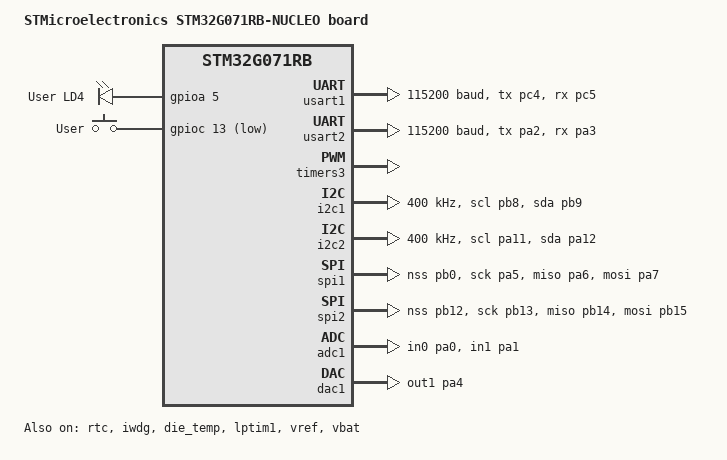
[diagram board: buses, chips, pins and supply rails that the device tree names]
/*
 * Copyright (c) 2019 Philippe Retornaz <philippe@shapescale.com>
 * Copyright (c) 2019 STMicroelectronics
 *
 * SPDX-License-Identifier: Apache-2.0
 */

/dts-v1/;
#include <st/g0/stm32g071Xb.dtsi>
#include <st/g0/stm32g071r(6-8-b)tx-pinctrl.dtsi>
#include "arduino_r3_connector.dtsi"
#include "st_morpho_connector.dtsi"
#include <zephyr/dt-bindings/input/input-event-codes.h>

/ {
	model = "STMicroelectronics STM32G071RB-NUCLEO board";
	compatible = "st,stm32g071rb-nucleo";

	chosen {
		zephyr,console = &usart2;
		zephyr,shell-uart = &usart2;
		zephyr,sram = &sram0;
		zephyr,flash = &flash0;
		zephyr,code-partition = &slot0_partition;
		zephyr,uart-mcumgr = &usart2;
	};

	aliases {
		mcuboot-button0 = &user_button;
		mcuboot-led0 = &green_led_1;
	};

	leds: leds {
		compatible = "gpio-leds";
		green_led_1: led_4 {
			gpios = <&gpioa 5 GPIO_ACTIVE_HIGH>;
			label = "User LD4";
		};
	};

	gpio_keys {
		compatible = "gpio-keys";
		user_button: button {
			label = "User";
			gpios = <&gpioc 13 GPIO_ACTIVE_LOW>;
			zephyr,code = <INPUT_KEY_0>;
		};
	};

	aliases {
		led0 = &green_led_1;
		sw0 = &user_button;
		watchdog0 = &iwdg;
		die-temp0 = &die_temp;
		volt-sensor0 = &vref;
		volt-sensor1 = &vbat;
	};
};

&clk_lsi {
	status = "okay";
};

&clk_hsi {
	status = "okay";
};

&pll {
	div-m = <1>;
	mul-n = <8>;
	div-p = <2>;
	div-q = <2>;
	div-r = <2>;
	clocks = <&clk_hsi>;
	status = "okay";
};

&rcc {
	clocks = <&pll>;
	clock-frequency = <DT_FREQ_M(64)>;
	ahb-prescaler = <1>;
	apb1-prescaler = <1>;
};

&usart1 {
	pinctrl-0 = <&usart1_tx_pc4 &usart1_rx_pc5>;
	pinctrl-names = "default";
	current-speed = <115200>;
	status = "okay";
};

&usart2 {
	pinctrl-0 = <&usart2_tx_pa2 &usart2_rx_pa3>;
	pinctrl-names = "default";
	current-speed = <115200>;
	status = "okay";
};

&rtc {
	clocks = <&rcc STM32_CLOCK_BUS_APB1 0x00000400>,
		 <&rcc STM32_SRC_LSI RTC_SEL(2)>;
	status = "okay";

	backup_regs {
		status = "okay";
	};
};

&iwdg {
	status = "okay";
};

&timers3 {
	st,prescaler = <10000>;
	status = "okay";
	pwm3: pwm {
		status = "okay";
		pinctrl-0 = <&tim3_ch1_pa6>;
		pinctrl-names = "default";
	};
};

&i2c1 {
	pinctrl-0 = <&i2c1_scl_pb8 &i2c1_sda_pb9>;
	pinctrl-names = "default";
	status = "okay";
	clock-frequency = <I2C_BITRATE_FAST>;
};

&i2c2 {
	pinctrl-0 = <&i2c2_scl_pa11 &i2c2_sda_pa12>;
	pinctrl-names = "default";
	status = "okay";
	clock-frequency = <I2C_BITRATE_FAST>;
};

&spi1 {
	pinctrl-0 = <&spi1_nss_pb0 &spi1_sck_pa5
		     &spi1_miso_pa6 &spi1_mosi_pa7>;
	pinctrl-names = "default";
	status = "okay";
};

&spi2 {
	pinctrl-0 = <&spi2_nss_pb12 &spi2_sck_pb13
		     &spi2_miso_pb14 &spi2_mosi_pb15>;
	pinctrl-names = "default";
	status = "okay";
};

&adc1 {
	pinctrl-0 = <&adc1_in0_pa0 &adc1_in1_pa1>;
	pinctrl-names = "default";
	st,adc-clock-source = <ASYNC>;
	st,adc-prescaler = <4>;
	status = "okay";
	vref-mv = <3300>;
};

&dac1 {
	status = "okay";
	pinctrl-0 = <&dac1_out1_pa4>;
	pinctrl-names = "default";
};

&die_temp {
	status = "okay";
};

&flash0 {
	partitions {
		compatible = "fixed-partitions";
		#address-cells = <1>;
		#size-cells = <1>;
		status = "okay";

		/*
		 * Note: stm32g071rb only has 128 kiB of flash (with 2k sector sizes), which is smaller
		 * than many other MCUs supported by mcuboot. In order to fit mcuboot into boot_partition,
		 * while also supporting signed images, while also allowing the applications to be of
		 * reasonable size, and assuming the partition layout below,
		 * mcuboot should be configured with
		 * - CONFIG_LOG=n
		 * - CONFIG_BOOT_VALIDATE_SLOT0=n
		 * - CONFIG_BOOT_MAX_IMG_SECTORS=25
		 *
		 * For quick verification of this, add the above options to 
		 *
		 * tests/boot/test_mcuboot/sysbuild/mcuboot.conf
		 *
		 * and then run the test with the nucleo_g071rb board.
		 *
		 * e.g.
		 * twister -i -p nucleo_g071rb \
		 *   --west-flash --device-testing --device-serial /dev/tty.usbmodem214403 \
		 *   -T tests/boot/test_mcuboot
		 */
        boot_partition: partition@0 {
            label = "mcuboot";
            reg = <0x0 DT_SIZE_K(32)>;
            read-only;
        };

		/* The MCUBoot swap-move algorithm uses the last 2 sectors
		 * of the primary slot0 for swap status and move.
		 */
        slot0_partition: partition@8000 {
            label = "image-0";
            reg = <0x00008000 (DT_SIZE_K(46) + DT_SIZE_K(2) + DT_SIZE_K(2))>;
        };

        slot1_partition: partition@14800 {
            label = "image-1";
            reg = <0x00014800 DT_SIZE_K(46)>;
        };
	};
};

stm32_lp_tick_source: &lptim1 {
	clocks = <&rcc STM32_CLOCK_BUS_APB1 0x80000000>,
		 <&rcc STM32_SRC_LSI LPTIM1_SEL(1)>;
	status = "okay";
};

&vref {
	status = "okay";
};

&vbat {
	status = "okay";
};
